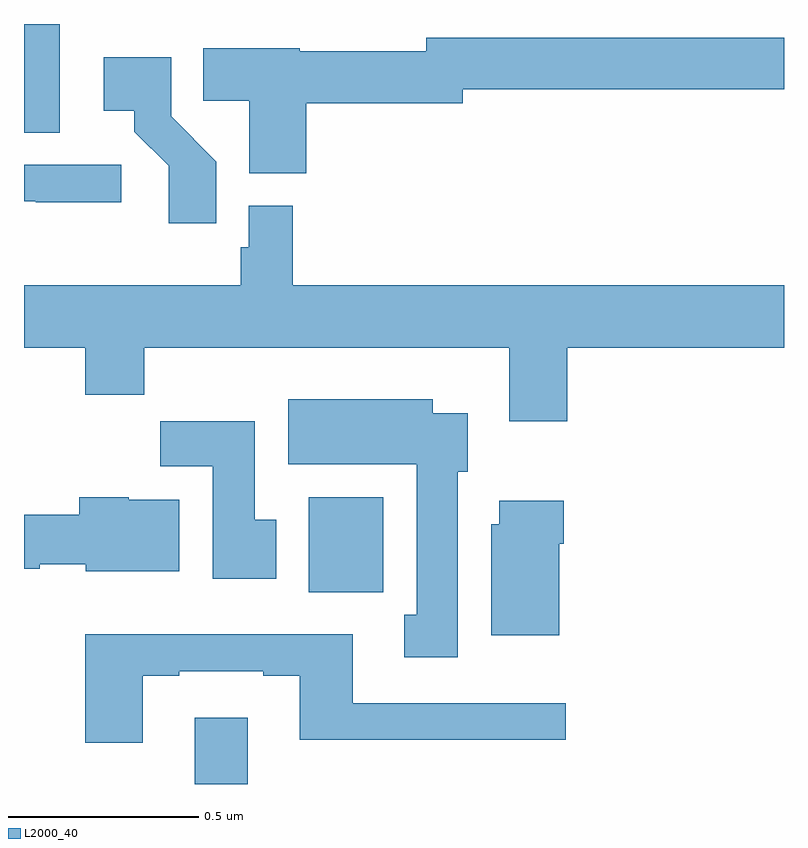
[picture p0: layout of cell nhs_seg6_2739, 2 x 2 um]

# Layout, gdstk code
import gdstk
lib = gdstk.Library(unit=1e-6, precision=1e-09)
def R(c, l, rs):  # rectangles x0, y0, x1, y1
    for r in rs: c.add(gdstk.rectangle(r[:2], r[2:], *l))
def P(c, l, *ps):  # polygons
    for p in ps: c.add(gdstk.Polygon(p, *l))
L2000_40 = (2000, 40)

nhs_seg6_2739 = lib.new_cell('nhs_seg6_2739')
R(nhs_seg6_2739, L2000_40, [(147.449,967.5,147.589,967.675), (147.749,968.004,147.945,968.254), (147,969.214,147.094,969.5)])
P(nhs_seg6_2739, L2000_40, [(147.743,969.292),(148.155,969.292),(148.155,969.328),(149,969.328),(149,969.464),(148.059,969.464),(148.059,969.428),(147.726,969.428),(147.726,969.436),(147.472,969.436),(147.472,969.298),(147.593,969.298),(147.593,969.107),(147.743,969.107)],
  [(147.506,969.138),(147.387,969.257),(147.387,969.412),(147.21,969.412),(147.21,969.272),(147.29,969.272),(147.29,969.217),(147.381,969.127),(147.381,968.976),(147.506,968.976)],
  [(147.256,969.129),(147,969.129),(147,969.033),(147.031,969.033),(147.031,969.031),(147.256,969.031)],
  [(148.43,968.648),(149,968.648),(149,968.812),(147.707,968.812),(147.707,969.022),(147.591,969.022),(147.591,968.913),(147.571,968.913),(147.571,968.812),(147,968.812),(147,968.648),(147.161,968.648),(147.161,968.524),(147.317,968.524),(147.317,968.648),(148.277,968.648),(148.277,968.454),(148.43,968.454)],
  [(148.141,968.322),(148.168,968.322),(148.168,968.476),(148.075,968.476),(148.075,968.512),(147.695,968.512),(147.695,968.342),(148.034,968.342),(148.034,967.945),(148.001,967.945),(148.001,967.833),(148.141,967.833)],
  [(147.664,968.196),(147.607,968.196),(147.607,968.454),(147.358,968.454),(147.358,968.336),(147.497,968.336),(147.497,968.04),(147.664,968.04)],
  [(147.409,968.248),(147.276,968.248),(147.276,968.254),(147.146,968.254),(147.146,968.208),(147,968.208),(147,968.066),(147.042,968.066),(147.042,968.078),(147.162,968.078),(147.162,968.06),(147.409,968.06)],
  [(148.408,968.132),(148.421,968.132),(148.421,968.245),(148.25,968.245),(148.25,968.184),(148.229,968.184),(148.229,967.892),(148.408,967.892)],
  [(147.313,967.785),(147.409,967.785),(147.409,967.797),(147.629,967.797),(147.629,967.785),(147.725,967.785),(147.725,967.616),(148.426,967.616),(148.426,967.713),(147.865,967.713),(147.865,967.894),(147.161,967.894),(147.161,967.608),(147.313,967.608)])

lib.write_gds('nhs_seg6_2739.gds')
